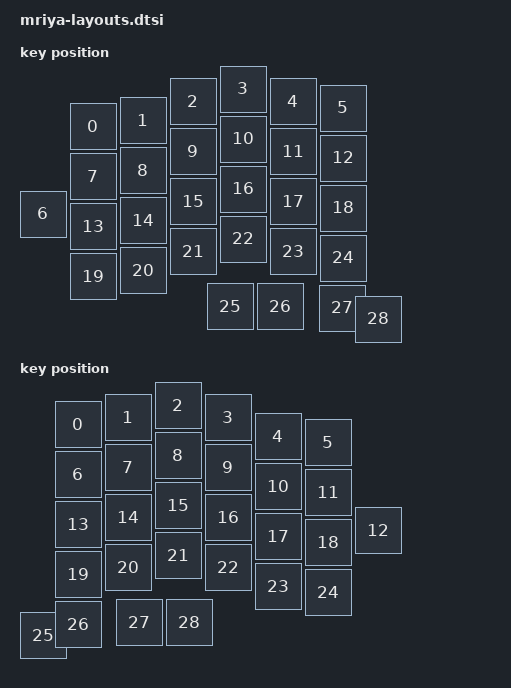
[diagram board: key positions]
#include <physical_layouts.dtsi>

/ {
    mriya_layout: mriya_layout {
        compatible = "zmk,physical-layout";
        display-name = "Mriya";
        transform = <&default_transform>;

        mriya_left_map: left {
            compatible = "zmk,physical-layout";
            display-name = "Mriya Left";
            transform = <&default_transform>;
            keys = <
                // Row 0
                &key_physical_attrs 100 100  100  75    0    0    0
                &key_physical_attrs 100 100  200  63    0    0    0
                &key_physical_attrs 100 100  300  25    0    0    0
                &key_physical_attrs 100 100  400   0    0    0    0
                &key_physical_attrs 100 100  500  25    0    0    0
                &key_physical_attrs 100 100  600  38    0    0    0

                // Row 1
                &key_physical_attrs 100 100    0 250    0    0    0
                &key_physical_attrs 100 100  100 175    0    0    0
                &key_physical_attrs 100 100  200 163    0    0    0
                &key_physical_attrs 100 100  300 125    0    0    0
                &key_physical_attrs 100 100  400 100    0    0    0
                &key_physical_attrs 100 100  500 125    0    0    0
                &key_physical_attrs 100 100  600 138    0    0    0

                // Row 2
                &key_physical_attrs 100 100  100 275    0    0    0
                &key_physical_attrs 100 100  200 263    0    0    0
                &key_physical_attrs 100 100  300 225    0    0    0
                &key_physical_attrs 100 100  400 200    0    0    0
                &key_physical_attrs 100 100  500 225    0    0    0
                &key_physical_attrs 100 100  600 238    0    0    0

                // Row 3
                &key_physical_attrs 100 100  100 375    0    0    0
                &key_physical_attrs 100 100  200 363    0    0    0
                &key_physical_attrs 100 100  300 325    0    0    0
                &key_physical_attrs 100 100  400 300    0    0    0
                &key_physical_attrs 100 100  500 325    0    0    0
                &key_physical_attrs 100 100  600 338    0    0    0

                // Row 4 (thumb keys)
                &key_physical_attrs 100 100  375 435 (-12)  475 535
                &key_physical_attrs 100 100  475 435    0    0   0
                &key_physical_attrs 100 100  600 438   15  600 438
                &key_physical_attrs 100 100  670 460   30  670 560
            >;
        };

        mriya_right_map: right {
            compatible = "zmk,physical-layout";
            display-name = "Mriya Right";
            transform = <&default_transform>;
            keys = <
                // Row 0
                &key_physical_attrs 100 100 1200  38    0    0    0
                &key_physical_attrs 100 100 1300  25    0    0    0
                &key_physical_attrs 100 100 1400   0    0    0    0
                &key_physical_attrs 100 100 1500  25    0    0    0
                &key_physical_attrs 100 100 1600  63    0    0    0
                &key_physical_attrs 100 100 1700  75    0    0    0

                // Row 1
                &key_physical_attrs 100 100 1200 138    0    0    0
                &key_physical_attrs 100 100 1300 125    0    0    0
                &key_physical_attrs 100 100 1400 100    0    0    0
                &key_physical_attrs 100 100 1500 125    0    0    0
                &key_physical_attrs 100 100 1600 163    0    0    0
                &key_physical_attrs 100 100 1700 175    0    0    0
                &key_physical_attrs 100 100 1800 250    0    0    0

                // Row 2
                &key_physical_attrs 100 100 1200 238    0    0    0
                &key_physical_attrs 100 100 1300 225    0    0    0
                &key_physical_attrs 100 100 1400 200    0    0    0
                &key_physical_attrs 100 100 1500 225    0    0    0
                &key_physical_attrs 100 100 1600 263    0    0    0
                &key_physical_attrs 100 100 1700 275    0    0    0

                // Row 3
                &key_physical_attrs 100 100 1200 338    0    0    0
                &key_physical_attrs 100 100 1300 325    0    0    0
                &key_physical_attrs 100 100 1400 300    0    0    0
                &key_physical_attrs 100 100 1500 325    0    0    0
                &key_physical_attrs 100 100 1600 363    0    0    0
                &key_physical_attrs 100 100 1700 375    0    0    0

                // Row 4 (thumb keys)
                &key_physical_attrs 100 100 1130 460 (-30) 1230 560
                &key_physical_attrs 100 100 1200 438 (-15) 1300 438
                &key_physical_attrs 100 100 1323 435    0    0   0
                &key_physical_attrs 100 100 1423 435   12 1423 535
            >;
        };
    };
}; 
